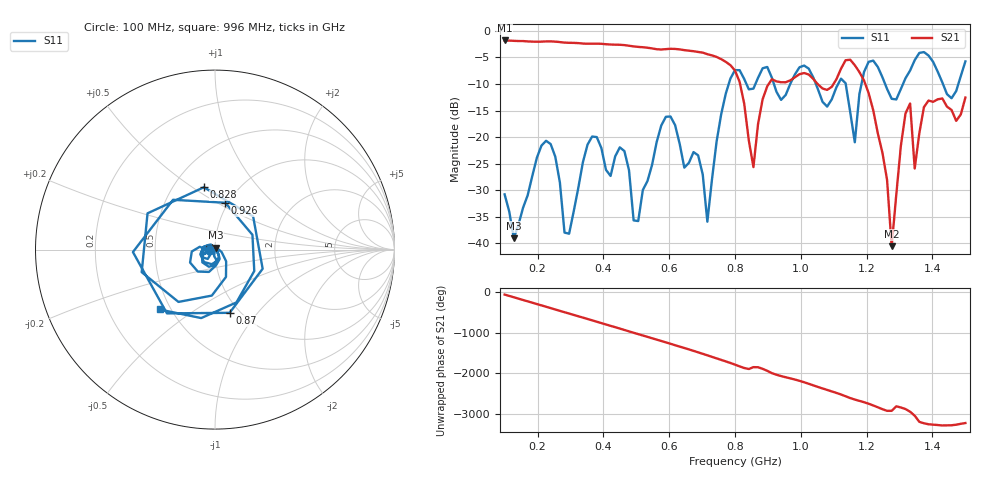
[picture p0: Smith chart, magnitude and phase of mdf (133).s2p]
! NanoVNA-App
! Date: 2025-09-25 15:39:27
! Start: 100MHz Stop: 1,5GHz Points: 101
! S-Parameter data: F S11 S21 S12 S22
# Hz S RI R 50
!  Frequency  S11_Real  S11_Imag  S21_Real  S21_Imag  S12_Real  S12_Imag  S22_Real  S22_Imag
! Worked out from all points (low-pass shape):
!   101 points, 100 MHz to 1.5 GHz, reference 50 ohm
!   highest |S21| = -1.80 dB at 100 MHz (marker M1); lowest = -40.5 dB at 1.276 GHz (marker M2)
!   |S21| within 3 dB of the highest: start of sweep to 739.1 MHz
!   lowest |S11| = -39.0 dB at 128 MHz (marker M3), VSWR 1.02, Z = 50.3 + j1.07 ohm
!   |S11| at or under -10 dB: start of sweep to 781 MHz; 1.046 GHz to 1.113 GHz (67.7 MHz wide, 6.27 % of centre); 1.256 GHz to 1.31 GHz (54.39 MHz wide, 4.24 % of centre)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
!   S12 and S22 are empty: the file has one direction only
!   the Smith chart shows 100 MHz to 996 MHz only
!   S11 on the Smith chart (normalised r, x): 100 MHz: 0.94, -0.01; 828 MHz: 0.70, +0.56; 870 MHz: 0.90, -0.73; 926 MHz: 0.97, +0.55; 996 MHz: 0.43, -0.37
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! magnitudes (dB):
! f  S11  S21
! 100 MHz  -30.8  -1.8
! 128 MHz  -39.0  -1.9
! 212 MHz  -21.6  -2.0
! 282 MHz  -38.0  -2.2
! 338 MHz  -24.7  -2.4
! 464 MHz  -22.6  -2.7
! 506 MHz  -35.8  -3.0
! 576 MHz  -17.8  -3.5
! 716 MHz  -35.9  -4.4
! 800 MHz  -7.4  -7.5
! 828 MHz  -9.1  -13.7
! 856 MHz  -10.9  -25.6
! 870 MHz  -8.8  -17.5
! 926 MHz  -11.5  -9.5
! 996 MHz  -6.8  -8.2
! 1.038 GHz  -8.8  -9.1
! 1.164 GHz  -21.0  -6.5
! 1.192 GHz  -7.7  -9.3
! 1.276 GHz  -12.8  -40.5
! 1.332 GHz  -7.5  -13.7
! 1.346 GHz  -5.5  -25.9
! 1.5 GHz  -5.7  -12.5
